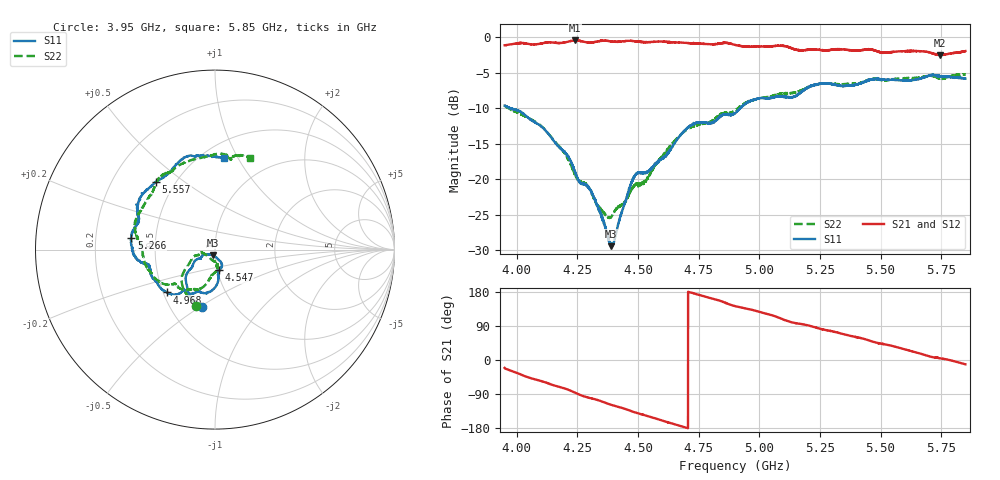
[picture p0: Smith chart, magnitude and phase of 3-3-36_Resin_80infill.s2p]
# GHZ S RI R 50.000000000000
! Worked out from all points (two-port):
!   4501 points, 3.95 GHz to 5.85 GHz, reference 50 ohm
!   highest |S21| = -0.46 dB at 4.242 GHz (marker M1); lowest = -2.5 dB at 5.745 GHz (marker M2)
!   |S21| within 3 dB of the highest: start of sweep to end of sweep
!   lowest |S11| = -29.5 dB at 4.39 GHz (marker M3), VSWR 1.07, Z = 48.5 - j2.98 ohm
!   |S11| at or under -10 dB: 3.972334 GHz to 3.972467 GHz (132.3 kHz wide, 0.00333 % of centre); 3.973 GHz to 4.922 GHz (948.5 MHz wide, 21.3 % of centre)
!   |S22| runs from -25.5 to -5.2 dB; largest |S21 - S12| = 0.065
!   S11 on the Smith chart (normalised r, x): 3.95 GHz: 0.71, -0.51; 4.547 GHz: 1.02, -0.23; 4.968 GHz: 0.53, -0.29; 5.266 GHz: 0.36, +0.06; 5.557 GHz: 0.39, +0.40; 5.85 GHz: 0.64, +0.88
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3.95  -0.0721 -0.3206  0.8202 -0.3122  0.8035 -0.3325  -0.1039 -0.3139
4.104956  -0.1636 -0.1647  0.4998 -0.7547  0.5032 -0.75  -0.1831 -0.145
4.241756  -0.098 -0.0527  0.0557 -0.9469  0.0757 -0.9466  -0.1018 -0.0314
4.267089  -0.0784 -0.049  -0.0574 -0.9341  -0.0425 -0.9417  -0.0907 -0.0292
4.311  -0.0713 -0.036  -0.1789 -0.9013  -0.1766 -0.9035  -0.0761 -0.014
4.389533  -0.0139 -0.0306  -0.4431 -0.8241  -0.4089 -0.8327  -0.0292 -0.0453
4.481578  0.039 -0.095  -0.6845 -0.6411  -0.6644 -0.6646  0.0136 -0.0881
4.547022  0.0215 -0.1128  -0.7946 -0.47  -0.7688 -0.5022  0.0129 -0.1065
4.583756  0.0193 -0.1328  -0.8546 -0.3724  -0.8324 -0.4068  -0.00774 -0.135
4.7252  -0.0415 -0.2384  -0.902 0.0505  -0.9006 0.0226  -0.085 -0.2191
4.848067  -0.142 -0.2457  -0.8175 0.3985  -0.8297 0.3573  -0.1937 -0.2175
4.9  -0.1786 -0.2305  -0.6978 0.5402  -0.7228 0.5105  -0.2366 -0.192
4.9684  -0.266 -0.2388  -0.5815 0.6304  -0.6003 0.6034  -0.3107 -0.1776
5.103511  -0.3616 -0.1118  -0.2327 0.8336  -0.2867 0.8221  -0.3989 -0.0412
5.217089  -0.4562 -0.022  0.0189 0.8192  -0.0308 0.8102  -0.4442 0.0978
5.266489  -0.4656 0.0674  0.1401 0.7951  0.098 0.8042  -0.4412 0.1678
5.440022  -0.4345 0.2293  0.4793 0.6664  0.4318 0.6914  -0.3321 0.3631
5.533756  -0.3501 0.3584  0.6029 0.4949  0.5731 0.5301  -0.2362 0.4399
5.556556  -0.3279 0.3788  0.6416 0.4604  0.6064 0.5003  -0.2178 0.4593
5.6638  -0.2284 0.4566  0.7645 0.2314  0.7393 0.2843  -0.0505 0.518
5.745289  -0.0934 0.5218  0.7444 0.0587  0.7416 0.1089  0.0897 0.5036
5.85  0.0513 0.508  0.7823 -0.1575  0.7863 -0.1025  0.1926 0.5125
